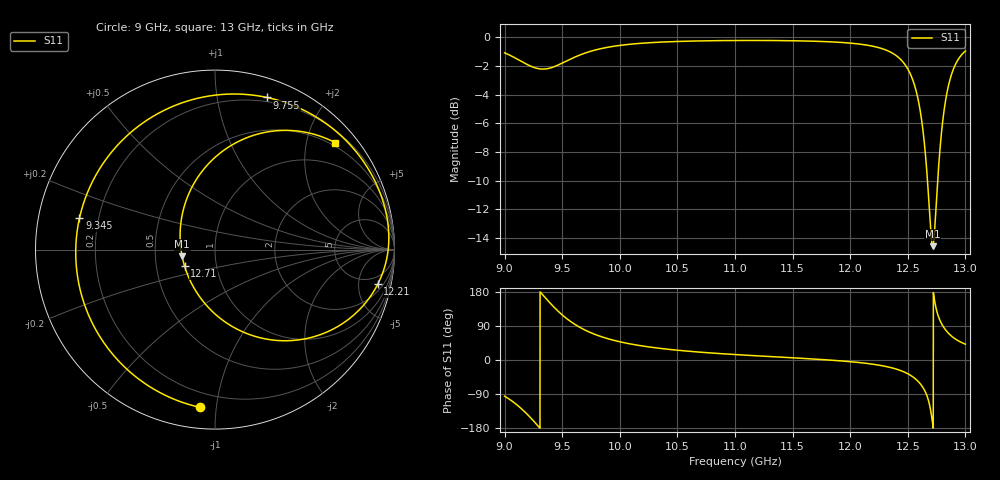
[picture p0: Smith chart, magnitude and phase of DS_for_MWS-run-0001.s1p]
! TOUCHSTONE file generated by CST DESIGN STUDIO
! Date and time: Tue Feb  4 18:25:08 2025
! Project name: C:\Work\MatlabApps\UnitCellOptimizationMatlab\CST\unitcell.cst
! Tree item: Tasks\Sweep1\SPara1\S-Parameters
! Header version: 2024
! Port assignment regex: !\s*Touchstone port\s*([0-9]+)\s*=\s*(CST MWS port|CST DES external port|CST DES block port)\s*(.+)\s* \(\"(.*)\"\)(\s*mode\s*([0-9]+))?.*
! Touchstone port assignment:
! Touchstone port 1 = CST DES external port 1 ("")
# GHz S MA R 50
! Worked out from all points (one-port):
!   4001 points, 9 GHz to 13 GHz, reference 50 ohm
!   lowest |S11| = -14.6 dB at 12.72 GHz (marker M1), VSWR 1.46, Z = 34.4 - j2.61 ohm
!   |S11| at or under -10 dB: 12.67 GHz to 12.76 GHz (88.39 MHz wide, 0.695 % of centre)
!   S11 on the Smith chart (normalised r, x): 9 GHz: 0.11, -0.90; 9.345 GHz: 0.13, +0.11; 9.755 GHz: 0.16, +1.39; 12.21 GHz: 3.08, -8.44; 12.71 GHz: 0.70, -0.13; 13 GHz: 0.42, +2.56
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9  0.8829 -95.4
9.082  0.8513 -112.4
9.16  0.8182 -132.5
9.258  0.7841 -163.1
9.345  0.7751 167.0
9.426  0.7887 140.3
9.5  0.813 119.0
9.611  0.8535 93.8
9.755  0.8958 71.1
10  0.937 48.1
10.216  0.955 36.1
10.5  0.9671 25.8
11  0.9746 14.4
11.5  0.9727 5.8
12  0.9544 -4.4
12.215  0.9273 -12.0
12.383  0.8724 -22.4
12.5  0.7756 -36.2
12.571  0.6532 -51.0
12.621  0.5115 -67.8
12.664  0.3453 -92.4
12.708  0.193 -151.3
12.716  0.1869 -168.7
12.734  0.2157 154.3
12.765  0.342 115.5
12.835  0.6252 76.8
12.918  0.8109 54.4
13  0.8957 41.7
